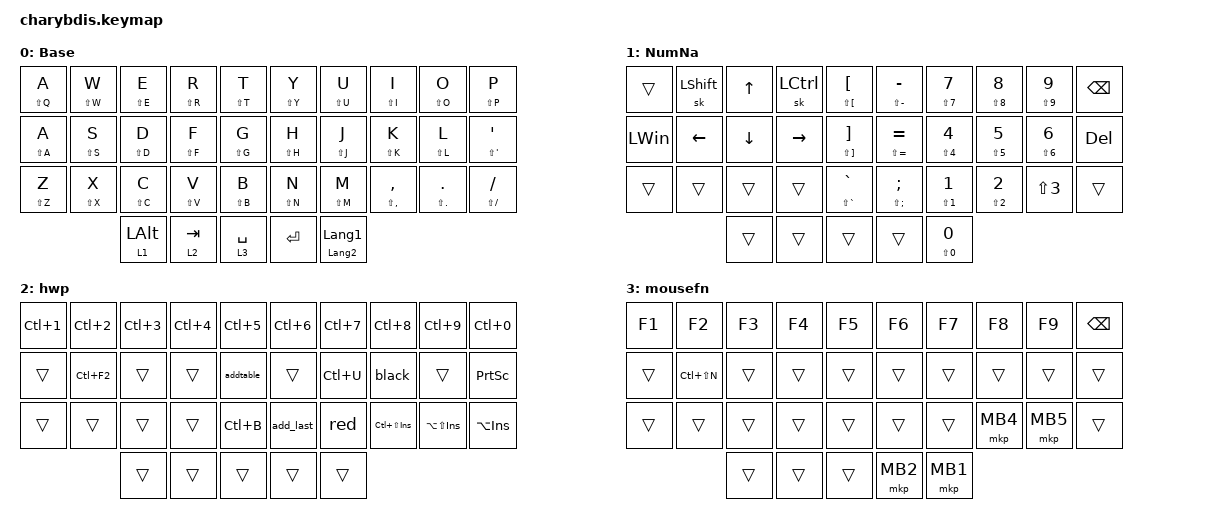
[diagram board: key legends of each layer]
#include <behaviors/mouse_keys.dtsi>
#include <behaviors.dtsi>
#include <dt-bindings/zmk/keys.h>
#include <dt-bindings/zmk/mouse.h>

#define BASE 0
#define NUFU 1
#define SYM 2
#define NAV 3
#define MED 4
#define POI 5
#define SCR 6
#define SNI 7

&sl { release-after-ms = <250>; };

&mt {
    tapping-term-ms = <200>;
    require-prior-idle-ms = <150>;
};

/ {
    chosen { zmk,matrix_transform = &five_column_transform; };

    #include "combos.dtsi"

    behaviors {
        hml: homewrow_mods_left {
            compatible = "zmk,behavior-hold-tap";
            label = "HOMEROW_MODS_LEFT_HAND";
            bindings = <&kp>, <&kp>;

            #binding-cells = <2>;
            tapping-term-ms = <280>;
            hold-trigger-key-positions = <5 6 7 8 9 15 16 17 18 19 25 26 27 28 29 33 34>;
            flavor = "balanced";
            quick-tap-ms = <175>;
            require-prior-idle-ms = <125>;
            hold-trigger-on-release;
        };

        hmr: homewrow_mods_right {
            compatible = "zmk,behavior-hold-tap";
            label = "HOMEROW_MODS_RIGHT_HAND";
            bindings = <&kp>, <&kp>;

            #binding-cells = <2>;
            tapping-term-ms = <280>;
            hold-trigger-key-positions = <0 1 2 3 4 10 11 12 13 14 20 21 22 23 24 30 31 32>;
            flavor = "balanced";
            quick-tap-ms = <175>;
            require-prior-idle-ms = <125>;
            hold-trigger-on-release;
        };
    };

    combos {
        compatible = "zmk,combos";

        combo_gobak {
            bindings = <&kp LC(Z)>;
            key-positions = <20 21>;
        };

        combo_cut {
            bindings = <&kp LC(X)>;
            key-positions = <21 22>;
        };

        combo_copy {
            bindings = <&kp LC(C)>;
            key-positions = <22 23>;
        };

        combo_paste {
            bindings = <&kp LC(V)>;
            key-positions = <23 24>;
        };

        combo_selectA {
            bindings = <&kp LC(A)>;
            key-positions = <10 11>;
            timeout-ms = <0>;
            require-prior-idle-ms = <0>;
        };

        combo_findF {
            bindings = <&kp LC(F)>;
            key-positions = <13 14>;
        };

        combo_findfile {
            bindings = <&kp LA(LC(F))>;
            key-positions = <16 17>;
        };

        combo_save {
            bindings = <&kp LC(S)>;
            key-positions = <11 12>;
        };

        combo_bubblemacro {
            bindings = <&bubble>;
            key-positions = <8 9>;
        };
    };

    macros {
        addtable: addtable {
            compatible = "zmk,behavior-macro";
            #binding-cells = <0>;
            bindings = <&kp LC(N) &kp T>;
            label = "ADDTABLE";
        };

        add_last: add_last {
            compatible = "zmk,behavior-macro";
            #binding-cells = <0>;
            bindings = <&kp LC(N) &kp N>;
            label = "ADD_LAST";
        };

        bubble: bubble {
            compatible = "zmk,behavior-macro";
            #binding-cells = <0>;
            bindings = <&kp LEFT_PARENTHESIS &kp RIGHT_PARENTHESIS &kp LEFT>;
            label = "BUBBLE";
        };

        red: red {
            compatible = "zmk,behavior-macro";
            #binding-cells = <0>;
            bindings = <&kp LC(M) &kp R>;
            label = "RED";
        };

        black: black {
            compatible = "zmk,behavior-macro";
            #binding-cells = <0>;
            bindings = <&kp LC(M) &kp K>;
            label = "BLACK";
        };
    };

    keymap {
        compatible = "zmk,keymap";

        Base {
            label = "Base";
            bindings = <
  &mt LS(Q) A  &mt LS(W) W  &mt LS(E) E     &mt LS(R) R  &mt LS(T) T    &mt LS(Y) Y  &mt LS(U) U                &mt LS(I) I          &mt LS(O) O      &mt LS(P) P
  &mt LS(A) A  &mt LS(S) S  &mt LS(D) D     &mt LS(F) F  &mt LS(G) G    &mt LS(H) H  &mt LS(J) J                &mt LS(K) K          &mt LS(L) L      &mt LS(APOS) APOS
  &mt LS(Z) Z  &mt LS(X) X  &mt LS(C) C     &mt LS(V) V  &mt LS(B) B    &mt LS(N) N  &mt LS(M) M                &mt LS(COMMA) COMMA  &mt LS(DOT) DOT  &mt LS(FSLH) FSLH
                            &lt 1 LEFT_ALT  &lt 2 TAB    &lt 3 SPACE    &kp ENTER    &mt LANGUAGE_2 LANGUAGE_1
            >;
        };

        NumNa {
            label = "NumNa";
            bindings = <
  &trans        &sk LSHIFT  &kp UP_ARROW  &sk LCTRL  &mt LS(LEFT_BRACKET) LEFT_BRACKET      &mt LS(MINUS) MINUS          &mt LS(N7) NUMBER_7  &mt LS(N8) N8        &mt LS(N9) NUMBER_9  &kp BACKSPACE
  &kp LEFT_WIN  &kp LEFT    &kp DOWN      &kp RIGHT  &mt LS(RIGHT_BRACKET) RIGHT_BRACKET    &mt LS(EQUAL) EQUAL          &mt LS(N4) NUMBER_4  &mt LS(N5) N5        &mt LS(N6) NUMBER_6  &kp DELETE
  &trans        &trans      &trans        &trans     &mt LS(GRAVE) GRAVE                    &mt LS(SEMICOLON) SEMICOLON  &mt LS(N1) NUMBER_1  &mt LS(N2) NUMBER_2  &kp LS(NUMBER_3)     &trans
                            &trans        &trans     &trans                                 &trans                       &mt LS(N0) N0
            >;
        };

        hwp {
            label = "hwp";
            bindings = <
  &kp LC(NUMBER_1)  &kp LC(NUMBER_2)  &kp LC(NUMBER_3)  &kp LC(NUMBER_4)  &kp LC(N5)    &kp LC(NUMBER_6)  &kp LC(N7)  &kp LC(N8)       &kp LC(N9)       &kp LC(N0)
  &trans            &kp LC(F2)        &trans            &trans            &addtable     &trans            &kp LC(U)   &black           &trans           &kp PRINTSCREEN
  &trans            &trans            &trans            &trans            &kp LC(B)     &add_last         &red        &kp LC(LS(INS))  &kp LA(LS(INS))  &kp LA(INS)
                                      &trans            &trans            &trans        &trans            &trans
            >;
        };

        mousefn {
            label = "mousefn";
            bindings = <
  &kp F1  &kp F2         &kp F3  &kp F4  &kp F5    &kp F6    &kp F7    &kp F8    &kp F9    &kp BACKSPACE
  &trans  &kp LC(LS(N))  &trans  &trans  &trans    &trans    &trans    &trans    &trans    &trans
  &trans  &trans         &trans  &trans  &trans    &trans    &trans    &mkp MB4  &mkp MB5  &trans
                         &trans  &trans  &trans    &mkp MB2  &mkp MB1
            >;
        };
    };
};
